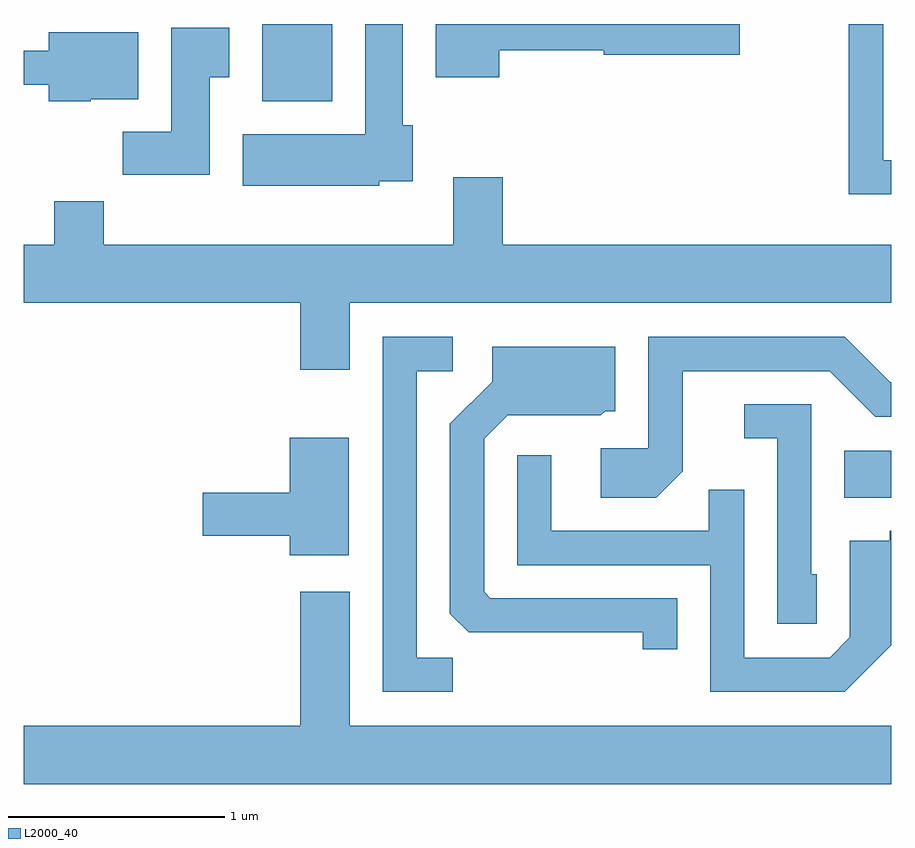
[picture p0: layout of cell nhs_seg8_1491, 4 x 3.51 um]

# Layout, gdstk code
import gdstk
lib = gdstk.Library(unit=1e-6, precision=1e-09)
def R(c, l, rs):  # rectangles x0, y0, x1, y1
    for r in rs: c.add(gdstk.rectangle(r[:2], r[2:], *l))
def P(c, l, *ps):  # polygons
    for p in ps: c.add(gdstk.Polygon(p, *l))
L2000_40 = (2000, 40)

nhs_seg8_1491 = lib.new_cell('nhs_seg8_1491')
R(nhs_seg8_1491, L2000_40, [(233.396,1862.156,233.611,1862.374), (230.711,1863.986,231.034,1864.342)])
P(nhs_seg8_1491, L2000_40, [(231.249,1863.616),(231.404,1863.616),(231.404,1863.874),(231.359,1863.874),(231.359,1864.342),(231.186,1864.342),(231.186,1863.834),(230.621,1863.834),(230.621,1863.596),(231.249,1863.596)],
  [(233.611,1863.714),(233.574,1863.714),(233.574,1864.342),(233.416,1864.342),(233.416,1863.556),(233.611,1863.556)],
  [(231.804,1864.221),(232.286,1864.221),(232.286,1864.201),(232.914,1864.201),(232.914,1864.342),(231.511,1864.342),(231.511,1864.096),(231.804,1864.096)],
  [(230.469,1864.096),(230.559,1864.096),(230.559,1864.324),(230.291,1864.324),(230.291,1863.844),(230.066,1863.844),(230.066,1863.646),(230.469,1863.646)],
  [(229.92,1863.996),(230.139,1863.996),(230.139,1864.304),(229.726,1864.304),(229.726,1864.219),(229.611,1864.219),(229.611,1864.061),(229.726,1864.061),(229.726,1863.986),(229.92,1863.986)],
  [(231.114,1863.056),(233.611,1863.056),(233.611,1863.324),(231.819,1863.324),(231.819,1863.634),(231.591,1863.634),(231.591,1863.324),(229.979,1863.324),(229.979,1863.524),(229.751,1863.524),(229.751,1863.324),(229.611,1863.324),(229.611,1863.056),(230.886,1863.056),(230.886,1862.746),(231.114,1862.746)],
  [(232.649,1862.279),(232.649,1862.741),(233.329,1862.741),(233.539,1862.531),(233.611,1862.531),(233.611,1862.689),(233.607,1862.689),(233.397,1862.899),(232.491,1862.899),(232.491,1862.384),(232.271,1862.384),(232.271,1862.156),(232.527,1862.156)],
  [(231.588,1861.419),(231.424,1861.419),(231.424,1862.741),(231.588,1862.741),(231.588,1862.899),(231.266,1862.899),(231.266,1861.261),(231.588,1861.261)],
  [(232.624,1861.694),(231.762,1861.694),(231.734,1861.722),(231.734,1862.429),(231.842,1862.536),(232.272,1862.536),(232.292,1862.556),(232.339,1862.556),(232.339,1862.854),(231.771,1862.854),(231.771,1862.692),(231.576,1862.497),(231.576,1861.622),(231.662,1861.536),(232.466,1861.536),(232.466,1861.458),(232.624,1861.458)],
  [(233.269,1861.804),(233.244,1861.804),(233.244,1862.589),(232.933,1862.589),(232.933,1862.431),(233.086,1862.431),(233.086,1861.576),(233.269,1861.576)],
  [(231.109,1862.434),(230.836,1862.434),(230.836,1862.179),(230.436,1862.179),(230.436,1861.981),(230.836,1861.981),(230.836,1861.891),(231.109,1861.891)],
  [(233.611,1861.475),(233.611,1862.004),(233.606,1862.004),(233.606,1861.959),(233.421,1861.959),(233.421,1861.512),(233.329,1861.419),(232.934,1861.419),(232.934,1862.193),(232.771,1862.193),(232.771,1862.004),(232.044,1862.004),(232.044,1862.353),(231.886,1862.353),(231.886,1861.846),(232.776,1861.846),(232.776,1861.261),(233.397,1861.261)],
  [(233.611,1861.104),(231.114,1861.104),(231.114,1861.724),(230.886,1861.724),(230.886,1861.104),(229.611,1861.104),(229.611,1860.836),(233.611,1860.836)])

lib.write_gds('nhs_seg8_1491.gds')
